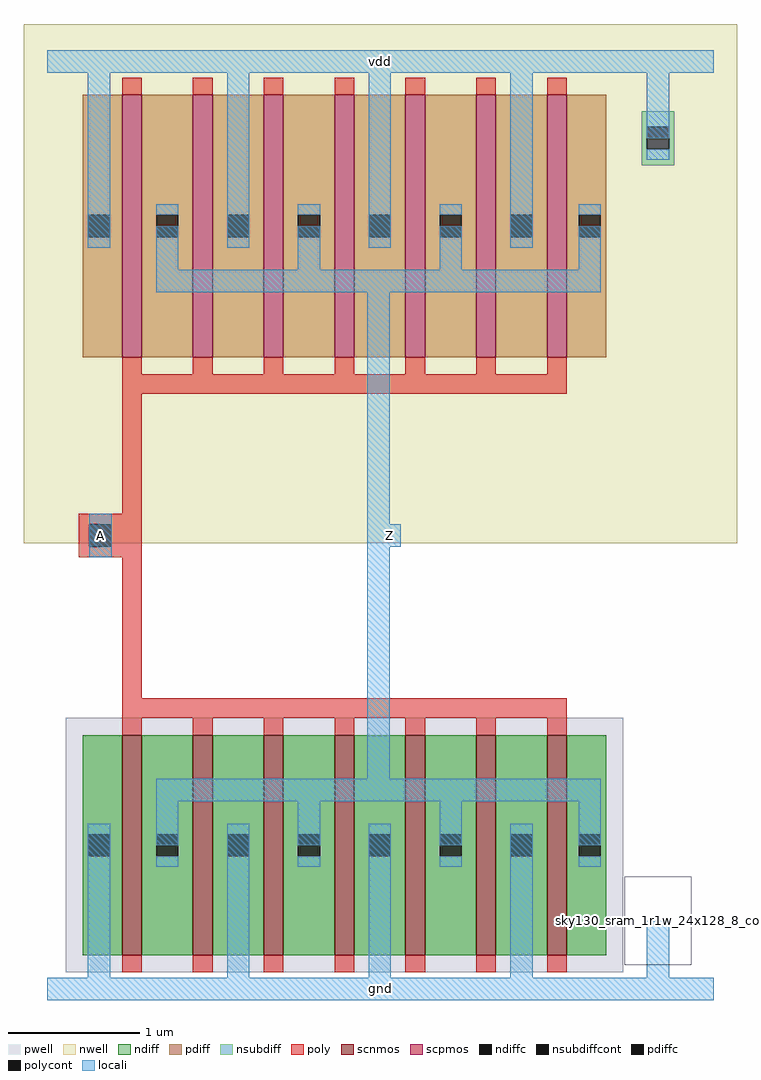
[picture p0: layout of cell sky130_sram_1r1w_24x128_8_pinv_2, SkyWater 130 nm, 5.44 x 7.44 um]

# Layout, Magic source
magic
tech sky130B
magscale 1 2
<< nwell >>
rect -36 679 1052 1471
<< poly >>
rect 114 724 144 907
rect 81 658 144 724
rect 114 443 144 658
<< locali >>
rect 0 1397 1016 1431
rect 62 1130 96 1397
rect 274 1130 308 1397
rect 490 1130 524 1397
rect 706 1130 740 1397
rect 914 1297 948 1397
rect 64 658 98 724
rect 488 708 522 1096
rect 488 674 539 708
rect 488 286 522 674
rect 62 17 96 186
rect 274 17 308 186
rect 490 17 524 186
rect 706 17 740 186
rect 914 17 948 104
rect 0 -17 1016 17
use sky130_sram_1r1w_24x128_8_contact_15  sky130_sram_1r1w_24x128_8_contact_15_0
transform 1 0 48 0 1 658
box 0 0 66 66
use sky130_sram_1r1w_24x128_8_contact_28  sky130_sram_1r1w_24x128_8_contact_28_0
transform 1 0 906 0 1 1256
box -59 -43 109 125
use sky130_sram_1r1w_24x128_8_contact_29  sky130_sram_1r1w_24x128_8_contact_29_0
transform 1 0 906 0 1 63
box -26 -26 76 108
use sky130_sram_1r1w_24x128_8_nmos_m7_w1_680_sli_dli_da_p  sky130_sram_1r1w_24x128_8_nmos_m7_w1_680_sli_dli_da_p_0
transform 1 0 54 0 1 51
box -26 -26 824 392
use sky130_sram_1r1w_24x128_8_pmos_m7_w2_000_sli_dli_da_p  sky130_sram_1r1w_24x128_8_pmos_m7_w2_000_sli_dli_da_p_0
transform 1 0 54 0 1 963
box -59 -56 857 454
<< labels >>
rlabel locali s 81 691 81 691 4 A
port 1 nsew
rlabel locali s 522 691 522 691 4 Z
port 2 nsew
rlabel locali s 508 0 508 0 4 gnd
port 3 nsew
rlabel locali s 508 1414 508 1414 4 vdd
port 4 nsew
<< properties >>
string FIXED_BBOX 0 0 1016 1414
<< end >>

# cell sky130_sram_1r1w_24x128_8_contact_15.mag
magic
tech sky130B
<< poly >>
rect 0 25 33 33
rect 0 8 8 25
rect 25 8 33 25
rect 0 0 33 8
<< polycont >>
rect 8 8 25 25
<< locali >>
rect 8 25 25 33
rect 8 0 25 8
<< properties >>
string FIXED_BBOX -10 -10 43 43
<< end >>

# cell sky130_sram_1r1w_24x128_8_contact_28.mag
magic
tech sky130B
magscale 1 2
<< nwell >>
rect -59 -43 109 125
<< nsubdiff >>
rect 0 58 50 82
rect 0 24 8 58
rect 42 24 50 58
rect 0 0 50 24
<< nsubdiffcont >>
rect 8 24 42 58
<< locali >>
rect 8 58 42 74
rect 8 8 42 24
<< properties >>
string FIXED_BBOX -59 -43 109 125
<< end >>

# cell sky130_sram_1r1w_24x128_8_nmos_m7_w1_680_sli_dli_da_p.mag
magic
tech sky130B
magscale 1 2
<< pwell >>
rect -26 -26 824 362
<< scnmos >>
rect 60 0 90 336
rect 168 0 198 336
rect 276 0 306 336
rect 384 0 414 336
rect 492 0 522 336
rect 600 0 630 336
rect 708 0 738 336
<< ndiff >>
rect 0 0 60 336
rect 90 0 168 336
rect 198 0 276 336
rect 306 0 384 336
rect 414 0 492 336
rect 522 0 600 336
rect 630 0 708 336
rect 738 0 798 336
<< poly >>
rect 60 362 738 392
rect 60 336 90 362
rect 168 336 198 362
rect 276 336 306 362
rect 384 336 414 362
rect 492 336 522 362
rect 600 336 630 362
rect 708 336 738 362
rect 60 -26 90 0
rect 168 -26 198 0
rect 276 -26 306 0
rect 384 -26 414 0
rect 492 -26 522 0
rect 600 -26 630 0
rect 708 -26 738 0
<< locali >>
rect 112 235 790 269
rect 8 135 42 201
rect 112 168 146 235
rect 220 135 254 201
rect 328 168 362 235
rect 436 135 470 201
rect 544 168 578 235
rect 652 135 686 201
rect 756 168 790 235
use sky130_sram_1r1w_24x128_8_contact_10  sky130_sram_1r1w_24x128_8_contact_10_0
transform 1 0 748 0 1 135
box -26 -22 76 88
use sky130_sram_1r1w_24x128_8_contact_10  sky130_sram_1r1w_24x128_8_contact_10_1
transform 1 0 644 0 1 135
box -26 -22 76 88
use sky130_sram_1r1w_24x128_8_contact_10  sky130_sram_1r1w_24x128_8_contact_10_2
transform 1 0 536 0 1 135
box -26 -22 76 88
use sky130_sram_1r1w_24x128_8_contact_10  sky130_sram_1r1w_24x128_8_contact_10_3
transform 1 0 428 0 1 135
box -26 -22 76 88
use sky130_sram_1r1w_24x128_8_contact_10  sky130_sram_1r1w_24x128_8_contact_10_4
transform 1 0 320 0 1 135
box -26 -22 76 88
use sky130_sram_1r1w_24x128_8_contact_10  sky130_sram_1r1w_24x128_8_contact_10_5
transform 1 0 212 0 1 135
box -26 -22 76 88
use sky130_sram_1r1w_24x128_8_contact_10  sky130_sram_1r1w_24x128_8_contact_10_6
transform 1 0 104 0 1 135
box -26 -22 76 88
use sky130_sram_1r1w_24x128_8_contact_10  sky130_sram_1r1w_24x128_8_contact_10_7
transform 1 0 0 0 1 135
box -26 -22 76 88
<< labels >>
rlabel poly s 399 377 399 377 4 G
port 1 nsew
rlabel locali s 237 168 237 168 4 S
port 2 nsew
rlabel locali s 25 168 25 168 4 S
port 2 nsew
rlabel locali s 453 168 453 168 4 S
port 2 nsew
rlabel locali s 669 168 669 168 4 S
port 2 nsew
rlabel locali s 451 252 451 252 4 D
port 3 nsew
<< properties >>
string FIXED_BBOX -25 -26 823 392
<< end >>

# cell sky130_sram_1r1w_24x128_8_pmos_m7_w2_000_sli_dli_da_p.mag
magic
tech sky130B
magscale 1 2
<< nwell >>
rect -54 -54 852 454
<< scpmos >>
rect 60 0 90 400
rect 168 0 198 400
rect 276 0 306 400
rect 384 0 414 400
rect 492 0 522 400
rect 600 0 630 400
rect 708 0 738 400
<< pdiff >>
rect 0 0 60 400
rect 90 0 168 400
rect 198 0 276 400
rect 306 0 384 400
rect 414 0 492 400
rect 522 0 600 400
rect 630 0 708 400
rect 738 0 798 400
<< poly >>
rect 60 400 90 426
rect 168 400 198 426
rect 276 400 306 426
rect 384 400 414 426
rect 492 400 522 426
rect 600 400 630 426
rect 708 400 738 426
rect 60 -26 90 0
rect 168 -26 198 0
rect 276 -26 306 0
rect 384 -26 414 0
rect 492 -26 522 0
rect 600 -26 630 0
rect 708 -26 738 0
rect 60 -56 738 -26
<< locali >>
rect 8 167 42 233
rect 112 133 146 200
rect 220 167 254 233
rect 328 133 362 200
rect 436 167 470 233
rect 544 133 578 200
rect 652 167 686 233
rect 756 133 790 200
rect 112 99 790 133
use sky130_sram_1r1w_24x128_8_contact_11  sky130_sram_1r1w_24x128_8_contact_11_0
transform 1 0 748 0 1 167
box -59 -51 109 117
use sky130_sram_1r1w_24x128_8_contact_11  sky130_sram_1r1w_24x128_8_contact_11_1
transform 1 0 644 0 1 167
box -59 -51 109 117
use sky130_sram_1r1w_24x128_8_contact_11  sky130_sram_1r1w_24x128_8_contact_11_2
transform 1 0 536 0 1 167
box -59 -51 109 117
use sky130_sram_1r1w_24x128_8_contact_11  sky130_sram_1r1w_24x128_8_contact_11_3
transform 1 0 428 0 1 167
box -59 -51 109 117
use sky130_sram_1r1w_24x128_8_contact_11  sky130_sram_1r1w_24x128_8_contact_11_4
transform 1 0 320 0 1 167
box -59 -51 109 117
use sky130_sram_1r1w_24x128_8_contact_11  sky130_sram_1r1w_24x128_8_contact_11_5
transform 1 0 212 0 1 167
box -59 -51 109 117
use sky130_sram_1r1w_24x128_8_contact_11  sky130_sram_1r1w_24x128_8_contact_11_6
transform 1 0 104 0 1 167
box -59 -51 109 117
use sky130_sram_1r1w_24x128_8_contact_11  sky130_sram_1r1w_24x128_8_contact_11_7
transform 1 0 0 0 1 167
box -59 -51 109 117
<< labels >>
rlabel poly s 399 -41 399 -41 4 G
port 1 nsew
rlabel locali s 669 200 669 200 4 S
port 2 nsew
rlabel locali s 25 200 25 200 4 S
port 2 nsew
rlabel locali s 453 200 453 200 4 S
port 2 nsew
rlabel locali s 237 200 237 200 4 S
port 2 nsew
rlabel locali s 451 116 451 116 4 D
port 3 nsew
<< properties >>
string FIXED_BBOX -54 -56 852 454
<< end >>

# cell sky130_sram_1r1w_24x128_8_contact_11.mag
magic
tech sky130B
magscale 1 2
<< nwell >>
rect -59 -51 109 117
<< pdiff >>
rect 0 50 50 62
rect 0 16 8 50
rect 42 16 50 50
rect 0 4 50 16
<< pdiffc >>
rect 8 16 42 50
<< locali >>
rect 8 50 42 66
rect 8 0 42 16
<< properties >>
string FIXED_BBOX -59 -51 109 117
<< end >>

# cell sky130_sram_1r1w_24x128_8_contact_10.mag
magic
tech sky130B
<< pwell >>
rect -13 -11 38 44
<< ndiff >>
rect 0 25 25 31
rect 0 8 4 25
rect 21 8 25 25
rect 0 2 25 8
<< ndiffc >>
rect 4 8 21 25
<< locali >>
rect 4 25 21 33
rect 4 0 21 8
<< properties >>
string FIXED_BBOX -12 -10 37 43
<< end >>
